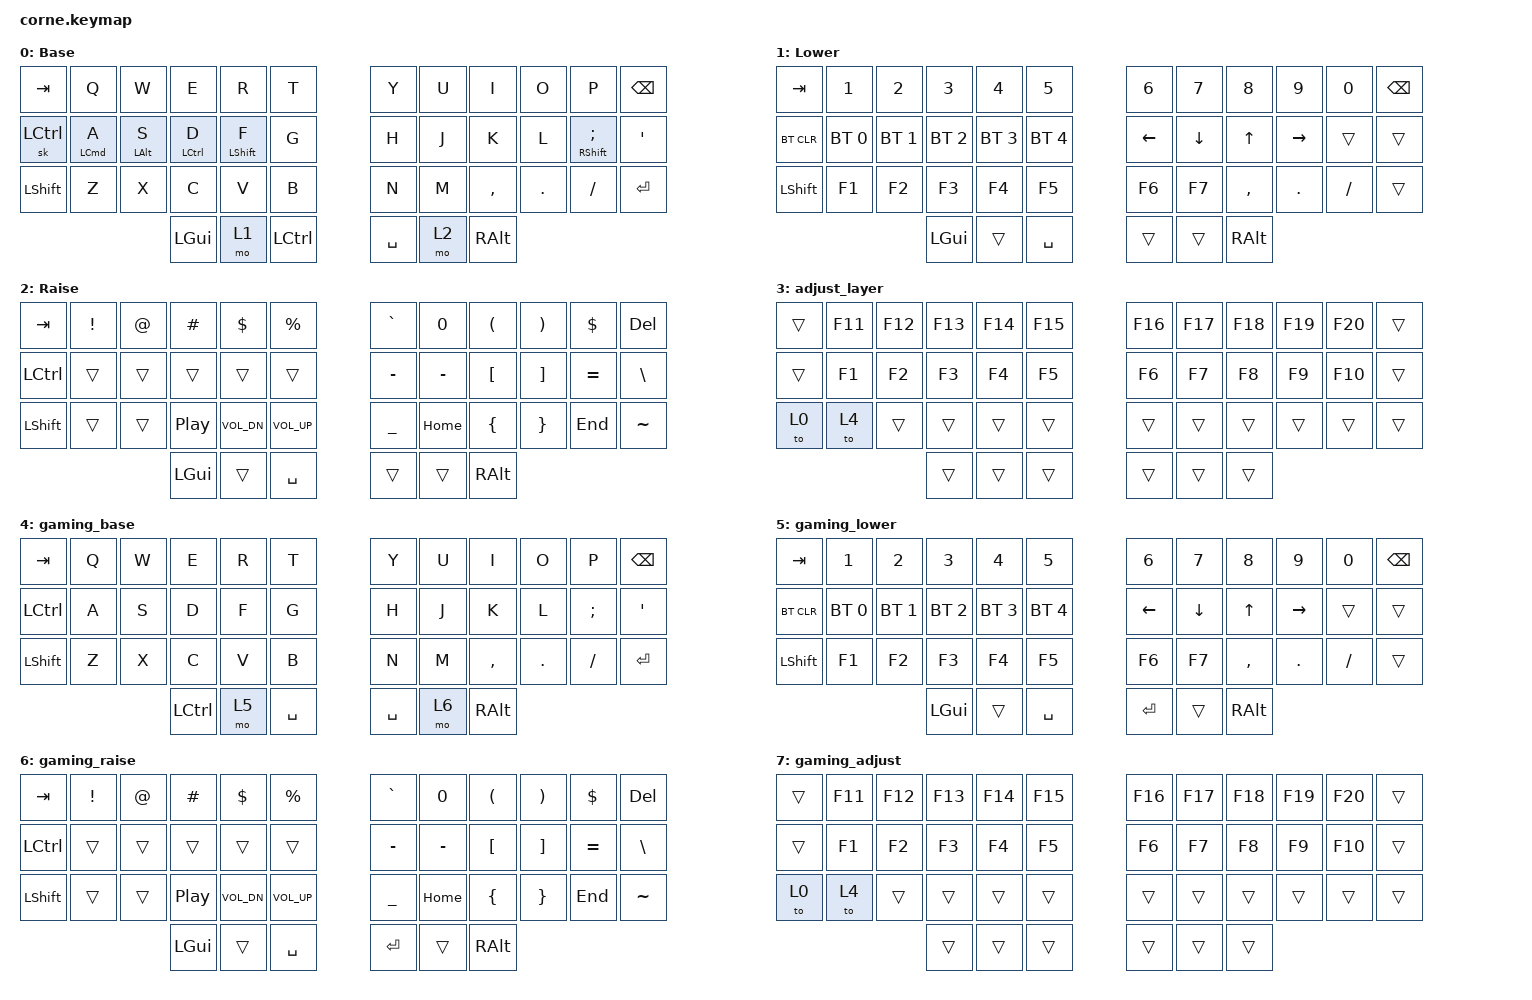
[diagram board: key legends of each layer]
/*
 * Copyright (c) 2020 The ZMK Contributors
 *
 * SPDX-License-Identifier: MIT
 */

#include <behaviors.dtsi>
#include <dt-bindings/zmk/bt.h>
#include <dt-bindings/zmk/keys.h>

&mt {
    flavor = "tap-preferred";
    tapping-term-ms = <175>;
};

&sk { release-after-ms = <200>; };

/ {
    combos {
        compatible = "zmk,combos";

        jk_esc {
            bindings = <&kp ESCAPE>;
            key-positions = <19 20>;
        };

        kl_ent {
            bindings = <&kp ENTER>;
            key-positions = <21 20>;
        };
    };

    keymap {
        compatible = "zmk,keymap";

        default_layer {
            // -----------------------------------------------------------------------------------------
            // |  TAB |  Q  |  W  |  E  |  R  |  T  |   |  Y  |  U   |  I  |  O  |  P  | BKSP |
            // | CTRL |  A  |  S  |  D  |  F  |  G  |   |  H  |  J   |  K  |  L  |  ;  |  '   |
            // | SHFT |  Z  |  X  |  C  |  V  |  B  |   |  N  |  M   |  ,  |  .  |  /  | ESC  |
            //                    | GUI | LWR | SPC |   | ENT | RSE  | ALT |

            display-name = "Base";
            bindings = <
&kp TAB    &kp Q       &kp W           &kp E        &kp R        &kp T        &kp Y      &kp U  &kp I      &kp O    &kp P                &kp BSPC
&sk LCTRL  &mt LCMD A  &mt LEFT_ALT S  &mt LCTRL D  &mt LSHFT F  &kp G        &kp H      &kp J  &kp K      &kp L    &mt RSHFT SEMICOLON  &kp SQT
&kp LSHFT  &kp Z       &kp X           &kp C        &kp V        &kp B        &kp N      &kp M  &kp COMMA  &kp DOT  &kp FSLH             &kp RET
                                       &kp LGUI     &mo 1        &kp LCTRL    &kp SPACE  &mo 2  &kp RALT
            >;
        };

        lower_layer {
            // -----------------------------------------------------------------------------------------
            // |  TAB |  1  |  2  |  3  |  4  |  5  |   |  6  |  7  |  8  |  9  |  0  | BKSP |
            // | BTCLR| BT1 | BT2 | BT3 | BT4 | BT5 |   | LFT | DWN |  UP | RGT |     |      |
            // | SHFT |     |     |     |     |     |   |     |     |     |     |     |      |
            //                    | GUI |     | SPC |   | ENT |     | ALT |

            display-name = "Lower";
            bindings = <
&kp TAB     &kp N1        &kp N2        &kp N3        &kp N4        &kp N5          &kp N6    &kp N7    &kp N8     &kp N9      &kp N0     &kp BSPC
&bt BT_CLR  &bt BT_SEL 0  &bt BT_SEL 1  &bt BT_SEL 2  &bt BT_SEL 3  &bt BT_SEL 4    &kp LEFT  &kp DOWN  &kp UP     &kp RIGHT   &trans     &trans
&kp LSHFT   &kp F1        &kp F2        &kp F3        &kp F4        &kp F5          &kp F6    &kp F7    &kp COMMA  &kp PERIOD  &kp SLASH  &trans
                                        &kp LGUI      &trans        &kp SPACE       &trans    &trans    &kp RALT
            >;
        };

        raise_layer {
            // -----------------------------------------------------------------------------------------
            // |  TAB |  !  |  @  |  #  |  $  |  %  |   |  ^  |  &  |  *  |  (  |  )  | BKSP |
            // | CTRL |     |     |     |     |     |   |  -  |  =  |  [  |  ]  |  \  |  `   |
            // | SHFT |     |     |     |     |     |   |  _  |  +  |  {  |  }  | "|" |  ~   |
            //                    | GUI |     | SPC |   | ENT |     | ALT |

            display-name = "Raise";
            bindings = <
&kp TAB    &kp EXCL  &kp AT  &kp HASH          &kp DLLR      &kp PRCNT       &kp GRAVE  &kp N0     &kp LPAR          &kp RPAR         &kp DOLLAR  &kp DELETE
&kp LCTRL  &trans    &trans  &trans            &trans        &trans          &kp MINUS  &kp MINUS  &kp LEFT_BRACKET  &kp RBKT         &kp EQUAL   &kp BACKSLASH
&kp LSHFT  &trans    &trans  &kp C_PLAY_PAUSE  &kp C_VOL_DN  &kp C_VOL_UP    &kp UNDER  &kp HOME   &kp LEFT_BRACE    &kp RIGHT_BRACE  &kp END     &kp TILDE
                             &kp LGUI          &trans        &kp SPACE       &trans    &trans     &kp RALT
            >;
        };

        adjust_layer {
            bindings = <
&trans  &kp F11  &kp F12  &kp F13  &kp F14  &kp F15    &kp F16  &kp F17  &kp F18  &kp F19  &kp F20  &trans
&trans  &kp F1   &kp F2   &kp F3   &kp F4   &kp F5     &kp F6   &kp F7   &kp F8   &kp F9   &kp F10  &trans
&to 0   &to 4    &trans   &trans   &trans   &trans     &trans   &trans   &trans   &trans   &trans   &trans
                          &trans   &trans   &trans     &trans   &trans   &trans
            >;
        };

        gaming_base {
            bindings = <
&kp TAB    &kp Q  &kp W  &kp E      &kp R  &kp T        &kp Y      &kp U  &kp I          &kp O       &kp P          &kp BACKSPACE
&kp LCTRL  &kp A  &kp S  &kp D      &kp F  &kp G        &kp H      &kp J  &kp K          &kp L       &kp SEMICOLON  &kp SQT
&kp LSHFT  &kp Z  &kp X  &kp C      &kp V  &kp B        &kp N      &kp M  &kp COMMA      &kp PERIOD  &kp SLASH      &kp ENTER
                         &kp LCTRL  &mo 5  &kp SPACE    &kp SPACE  &mo 6  &kp RIGHT_ALT
            >;
        };

        gaming_lower {
            display-name = "gaming_lower";
            bindings = <
&kp TAB     &kp N1        &kp N2        &kp N3        &kp N4        &kp N5          &kp N6    &kp N7    &kp N8     &kp N9      &kp N0     &kp BSPC
&bt BT_CLR  &bt BT_SEL 0  &bt BT_SEL 1  &bt BT_SEL 2  &bt BT_SEL 3  &bt BT_SEL 4    &kp LEFT  &kp DOWN  &kp UP     &kp RIGHT   &trans     &trans
&kp LSHFT   &kp F1        &kp F2        &kp F3        &kp F4        &kp F5          &kp F6    &kp F7    &kp COMMA  &kp PERIOD  &kp SLASH  &trans
                                        &kp LGUI      &trans        &kp SPACE       &kp RET   &trans    &kp RALT
            >;
        };

        gaming_raise {
            display-name = "gaming_raise";
            bindings = <
&kp TAB    &kp EXCL  &kp AT  &kp HASH          &kp DLLR      &kp PRCNT       &kp GRAVE  &kp N0     &kp LPAR          &kp RPAR         &kp DOLLAR  &kp DELETE
&kp LCTRL  &trans    &trans  &trans            &trans        &trans          &kp MINUS  &kp MINUS  &kp LEFT_BRACKET  &kp RBKT         &kp EQUAL   &kp BACKSLASH
&kp LSHFT  &trans    &trans  &kp C_PLAY_PAUSE  &kp C_VOL_DN  &kp C_VOL_UP    &kp UNDER  &kp HOME   &kp LEFT_BRACE    &kp RIGHT_BRACE  &kp END     &kp TILDE
                             &kp LGUI          &trans        &kp SPACE       &kp RET    &trans     &kp RALT
            >;
        };

        gaming_adjust {
            bindings = <
&trans  &kp F11  &kp F12  &kp F13  &kp F14  &kp F15    &kp F16  &kp F17  &kp F18  &kp F19  &kp F20  &trans
&trans  &kp F1   &kp F2   &kp F3   &kp F4   &kp F5     &kp F6   &kp F7   &kp F8   &kp F9   &kp F10  &trans
&to 0   &to 4    &trans   &trans   &trans   &trans     &trans   &trans   &trans   &trans   &trans   &trans
                          &trans   &trans   &trans     &trans   &trans   &trans
            >;
        };
    };

    conditional_layers {
        compatible = "zmk,conditional-layers";

        ADJUST {
            if-layers = <1 2>;
            then-layer = <3>;
        };

        adjust_from_gaming_base {
            if-layers = <5 6>;
            then-layer = <7>;
        };
    };
};

